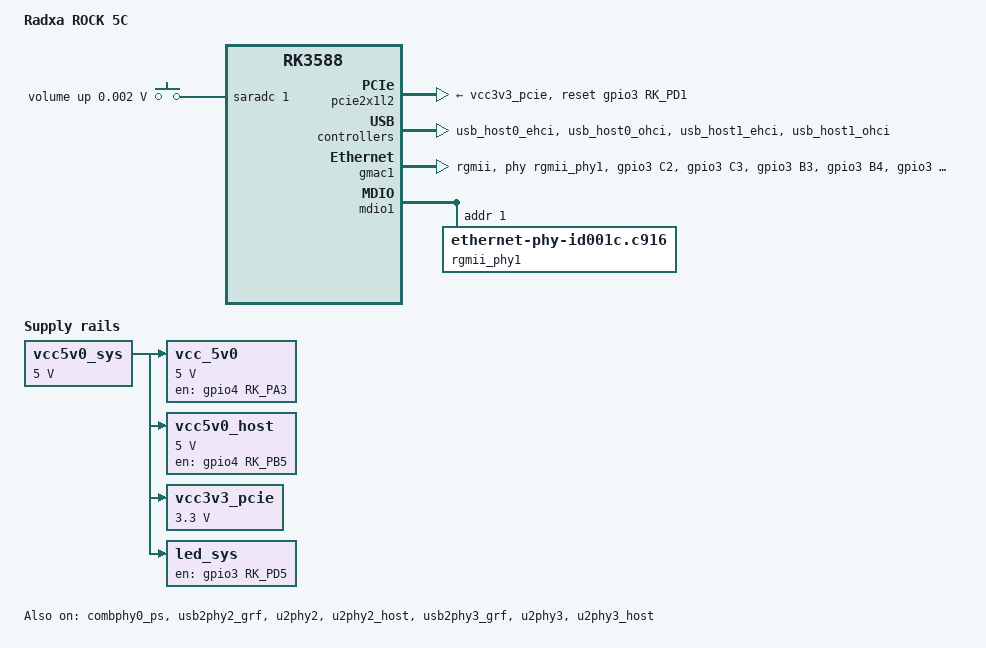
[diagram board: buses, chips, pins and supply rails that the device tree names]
// SPDX-License-Identifier: (GPL-2.0+ OR MIT)
/*
 * Copyright (c) 2021 Rockchip Electronics Co., Ltd
 *
 */

/dts-v1/;
#include "rk3588.dtsi"
#include "rk3588-u-boot.dtsi"
#include <dt-bindings/input/input.h>

/ {
	model = "Radxa ROCK 5C";
	compatible = "radxa,rock-5c", "rockchip,rk3588";

	vcc5v0_sys: vcc5v0-sys {
		u-boot,dm-pre-reloc;
		compatible = "regulator-fixed";
		regulator-name = "vcc5v0_sys";
		regulator-always-on;
		regulator-boot-on;
		regulator-min-microvolt = <5000000>;
		regulator-max-microvolt = <5000000>;
	};

	vcc_5v0: vcc-5v0 {
		u-boot,dm-pre-reloc;
		compatible = "regulator-fixed";
		regulator-name = "vcc_5v0";
		regulator-min-microvolt = <5000000>;
		regulator-max-microvolt = <5000000>;
		regulator-boot-on;
		regulator-always-on;
		enable-active-high;
		gpio = <&gpio4 RK_PA3 GPIO_ACTIVE_HIGH>;
		pinctrl-names = "default";
		pinctrl-0 = <&vcc_5v0_en>;
		vin-supply = <&vcc5v0_sys>;
	};

	vcc5v0_host: vcc5v0-host-regulator {
		u-boot,dm-pre-reloc;
		compatible = "regulator-fixed";
		regulator-name = "vcc5v0_host";
		regulator-boot-on;
		regulator-always-on;
		regulator-min-microvolt = <5000000>;
		regulator-max-microvolt = <5000000>;
		enable-active-high;
		gpio = <&gpio4 RK_PB5 GPIO_ACTIVE_HIGH>;
		pinctrl-names = "default";
		pinctrl-0 = <&vcc5v0_host_en>;
		vin-supply = <&vcc5v0_sys>;
	};

	vcc3v3_pcie: vcc3v3-pcie {
		u-boot,dm-pre-reloc;
		compatible = "regulator-fixed";
		regulator-name = "vcc3v3_pcie";
		regulator-min-microvolt = <3300000>;
		regulator-max-microvolt = <3300000>;
		enable-active-high;
		regulator-boot-on;
		regulator-always-on;
		vin-supply = <&vcc5v0_sys>;
	};

	led_sys: led-sys {
		u-boot,dm-pre-reloc;
		compatible = "regulator-fixed";
		regulator-name = "led_sys";
		enable-active-high;
		gpio = <&gpio3 RK_PD5 GPIO_ACTIVE_HIGH>; // Turn on user led
		regulator-boot-on;
		regulator-always-on;
		vin-supply = <&vcc5v0_sys>;
	};

	adc-keys {
		compatible = "adc-keys";
		io-channels = <&saradc 1>;
		io-channel-names = "buttons";
		keyup-threshold-microvolt = <1800000>;
		u-boot,dm-pre-reloc;
		status = "okay";

		user-key {
			u-boot,dm-pre-reloc;
			linux,code = <KEY_VOLUMEUP>;
			label = "volume up";
			press-threshold-microvolt = <1750>;
		};
	};
};

&combphy0_ps {
	status = "okay";
	u-boot,dm-pre-reloc;
};

&pcie2x1l2 {
	status = "okay";
	reset-gpios = <&gpio3 RK_PD1 GPIO_ACTIVE_HIGH>;
	u-boot,dm-pre-reloc;
	vpcie3v3-supply = <&vcc3v3_pcie>;
};

&usb_host0_ehci {
	status = "okay";
	u-boot,dm-pre-reloc;
};

&usb_host0_ohci {
	status = "okay";
	u-boot,dm-pre-reloc;
};

&usb2phy2_grf {
	status = "okay";
	u-boot,dm-pre-reloc;
};

&u2phy2 {
	status = "okay";
	u-boot,dm-pre-reloc;
};

&u2phy2_host {
	status = "okay";
	u-boot,dm-pre-reloc;
};

&usb_host1_ehci {
	status = "okay";
	u-boot,dm-pre-reloc;
};

&usb_host1_ohci {
	status = "okay";
	u-boot,dm-pre-reloc;
};

&usb2phy3_grf {
	status = "okay";
	u-boot,dm-pre-reloc;
};

&u2phy3 {
	status = "okay";
	u-boot,dm-pre-reloc;
};

&u2phy3_host {
	status = "okay";
	u-boot,dm-pre-reloc;
};

&gmac1 {
	u-boot,dm-pre-reloc;
	status = "okay";
	phy-mode = "rgmii";
	clock_in_out = "output";
	clocks = <&cru CLK_GMAC_125M>, <&cru ACLK_GMAC1>,
			<&cru PCLK_GMAC1>, <&cru CLK_GMAC1_PTP_REF>;

	snps,reset-gpio = <&gpio3 RK_PB7 GPIO_ACTIVE_LOW>;
	snps,reset-active-low;
	snps,reset-delays-us = <0 20000 100000>;
	phy-handle = <&rgmii_phy1>;
	pinctrl-names = "default";
	pinctrl-0 = <&gmac1_miim
			&gmac1_tx_bus2
			&gmac1_rx_bus2
			&gmac1_rgmii_clk
			&gmac1_rgmii_bus>;
	tx_delay = <0x3a>;
	rx_delay = <0x3e>;
};

&mdio1 {
	u-boot,dm-pre-reloc;
        rgmii_phy1: phy@1 {
		u-boot,dm-pre-reloc;
		compatible = "ethernet-phy-id001c.c916";
		reg = <0x1>;
		pinctrl-names = "default";
		pinctrl-0 = <&rtl8211f_rst>;
        };
};

&pinctrl {
	usb {
		u-boot,dm-pre-reloc;
		vcc5v0_host_en: vcc5v0-host-en {
			u-boot,dm-pre-reloc;
			rockchip,pins = <4 RK_PB5 RK_FUNC_GPIO &pcfg_pull_none>;
		};
	};

	power {
		u-boot,dm-spl;
		vcc_5v0_en: vcc-5v0-en {
			u-boot,dm-spl;
			rockchip,pins = <4 RK_PA3 RK_FUNC_GPIO &pcfg_pull_none>;
		};
	};

	rtl8211f {
		rtl8211f_rst: rtl8211f-rst {
			u-boot,dm-spl;
			rockchip,pins = <3 RK_PB7 RK_FUNC_GPIO &pcfg_pull_none>;
		};
	};

	gmac1 {
		u-boot,dm-pre-reloc;
		gmac1_miim: gmac1-miim {
			u-boot,dm-pre-reloc;
			rockchip,pins =
				/* gmac1_mdc */
				<3 RK_PC2 1 &pcfg_pull_none>,
				/* gmac1_mdio */
				<3 RK_PC3 1 &pcfg_pull_none>;
		};

		gmac1_clkinout: gmac1-clkinout {
			u-boot,dm-pre-reloc;
			rockchip,pins =
				/* gmac1_mclkinout */
				<3 RK_PB6 1 &pcfg_pull_none>;
		};

		gmac1_rx_bus2: gmac1-rx-bus2 {
			u-boot,dm-pre-reloc;
			rockchip,pins =
				/* gmac1_rxd0 */
				<3 RK_PA7 1 &pcfg_pull_none>,
				/* gmac1_rxd1 */
				<3 RK_PB0 1 &pcfg_pull_none>,
				/* gmac1_rxdv_crs */
				<3 RK_PB1 1 &pcfg_pull_none>;
		};

		gmac1_tx_bus2: gmac1-tx-bus2 {
			u-boot,dm-pre-reloc;
			rockchip,pins =
				/* gmac1_txd0 */
				<3 RK_PB3 1 &pcfg_pull_none>,
				/* gmac1_txd1 */
				<3 RK_PB4 1 &pcfg_pull_none>,
				/* gmac1_txen */
				<3 RK_PB5 1 &pcfg_pull_none>;
		};

		gmac1_rgmii_clk: gmac1-rgmii-clk {
			u-boot,dm-pre-reloc;
			rockchip,pins =
				/* gmac1_rxclk */
				<3 RK_PA5 1 &pcfg_pull_none>,
				/* gmac1_txclk */
				<3 RK_PA4 1 &pcfg_pull_none>;
		};

		gmac1_rgmii_bus: gmac1-rgmii-bus {
			u-boot,dm-pre-reloc;
			rockchip,pins =
				/* gmac1_rxd2 */
				<3 RK_PA2 1 &pcfg_pull_none>,
				/* gmac1_rxd3 */
				<3 RK_PA3 1 &pcfg_pull_none>,
				/* gmac1_txd2 */
				<3 RK_PA0 1 &pcfg_pull_none>,
				/* gmac1_txd3 */
				<3 RK_PA1 1 &pcfg_pull_none>;
		};

		gmac1_ppsclk: gmac1-ppsclk {
			u-boot,dm-pre-reloc;
			rockchip,pins =
				/* gmac1_ppsclk */
				<3 RK_PC1 1 &pcfg_pull_none>;
		};

		gmac1_ppstrig: gmac1-ppstrig {
			u-boot,dm-pre-reloc;
			rockchip,pins =
				/* gmac1_ppstrig */
				<3 RK_PC0 1 &pcfg_pull_none>;
		};

		gmac1_ptp_ref_clk: gmac1-ptp-ref-clk {
			u-boot,dm-pre-reloc;
			rockchip,pins =
				/* gmac1_ptp_ref_clk */
				<3 RK_PB7 1 &pcfg_pull_none>;
		};

		gmac1_txer: gmac1-txer {
			u-boot,dm-pre-reloc;
			rockchip,pins =
				/* gmac1_txer */
				<3 RK_PB2 1 &pcfg_pull_none>;
		};
	};
};
